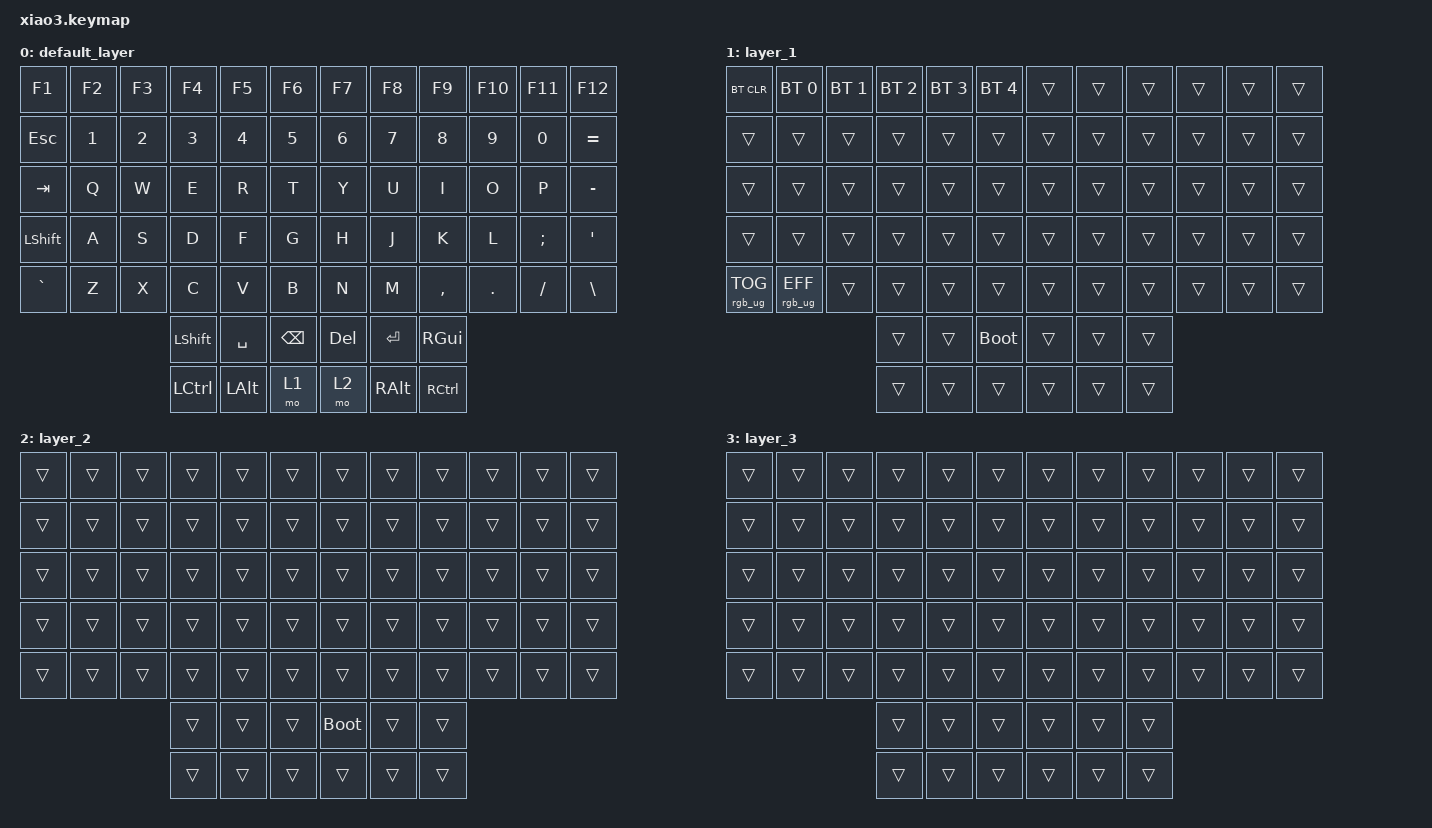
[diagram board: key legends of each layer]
/*
 * Copyright (c) 2020 The ZMK Contributors
 *
 * SPDX-License-Identifier: MIT
 */

#include <behaviors/mouse_keys.dtsi>
#include <behaviors.dtsi>
#include <dt-bindings/zmk/bt.h>
#include <dt-bindings/zmk/keys.h>
#include <dt-bindings/zmk/rgb.h>

/ {
    keymap {
        compatible = "zmk,keymap";

        default_layer {
            bindings = <
&kp F1     &kp F2  &kp F3  &kp F4     &kp F5      &kp F6      &kp F7   &kp F8    &kp F9     &kp F10  &kp F11   &kp F12
&kp ESC    &kp N1  &kp N2  &kp N3     &kp N4      &kp N5      &kp N6   &kp N7    &kp N8     &kp N9   &kp N0    &kp EQUAL
&kp TAB    &kp Q   &kp W   &kp E      &kp R       &kp T       &kp Y    &kp U     &kp I      &kp O    &kp P     &kp MINUS
&kp LSHFT  &kp A   &kp S   &kp D      &kp F       &kp G       &kp H    &kp J     &kp K      &kp L    &kp SEMI  &kp SQT
&kp GRAVE  &kp Z   &kp X   &kp C      &kp V       &kp B       &kp N    &kp M     &kp COMMA  &kp DOT  &kp FSLH  &kp BSLH
                           &kp LSHFT  &kp SPACE  &kp BSPC    &kp DEL  &kp RET   &kp RGUI
                           &kp LCTRL  &kp LALT   &mo 1       &mo 2    &kp RALT  &kp RCTRL
            >;
        };

        layer_1 {
            bindings = <
&bt BT_CLR       &bt BT_SEL 0     &bt BT_SEL 1  &bt BT_SEL 2  &bt BT_SEL 3  &bt BT_SEL 4    &trans  &trans  &trans  &trans  &trans  &trans
&trans           &trans           &trans        &trans        &trans        &trans          &trans  &trans  &trans  &trans  &trans  &trans
&trans           &trans           &trans        &trans        &trans        &trans          &trans  &trans  &trans  &trans  &trans  &trans
&trans           &trans           &trans        &trans        &trans        &trans          &trans  &trans  &trans  &trans  &trans  &trans
&rgb_ug RGB_TOG  &rgb_ug RGB_EFF  &trans        &trans        &trans        &trans          &trans  &trans  &trans  &trans  &trans  &trans
                                                &trans        &trans        &bootloader     &trans  &trans  &trans
                                                &trans        &trans        &trans          &trans  &trans  &trans
            >;
        };

        layer_2 {
            bindings = <
&trans  &trans  &trans  &trans  &trans  &trans    &trans       &trans  &trans  &trans  &trans  &trans
&trans  &trans  &trans  &trans  &trans  &trans    &trans       &trans  &trans  &trans  &trans  &trans
&trans  &trans  &trans  &trans  &trans  &trans    &trans       &trans  &trans  &trans  &trans  &trans
&trans  &trans  &trans  &trans  &trans  &trans    &trans       &trans  &trans  &trans  &trans  &trans
&trans  &trans  &trans  &trans  &trans  &trans    &trans       &trans  &trans  &trans  &trans  &trans
                        &trans  &trans  &trans    &bootloader  &trans  &trans
                        &trans  &trans  &trans    &trans       &trans  &trans
            >;
        };

        layer_3 {
            bindings = <
&trans  &trans  &trans  &trans  &trans  &trans    &trans  &trans  &trans  &trans  &trans  &trans
&trans  &trans  &trans  &trans  &trans  &trans    &trans       &trans  &trans  &trans  &trans  &trans
&trans  &trans  &trans  &trans  &trans  &trans    &trans  &trans  &trans  &trans  &trans  &trans
&trans  &trans  &trans  &trans  &trans  &trans    &trans  &trans  &trans  &trans  &trans  &trans
&trans  &trans  &trans  &trans  &trans  &trans    &trans  &trans  &trans  &trans  &trans  &trans
                        &trans  &trans  &trans    &trans  &trans  &trans
                        &trans  &trans  &trans    &trans  &trans  &trans
            >;
        };
    };
};
